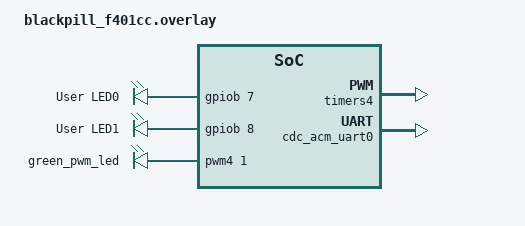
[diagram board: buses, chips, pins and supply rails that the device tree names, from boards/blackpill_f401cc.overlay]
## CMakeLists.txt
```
# SPDX-License-Identifier: Apache-2.0

cmake_minimum_required(VERSION 3.20.0)
find_package(Zephyr REQUIRED HINTS $ENV{ZEPHYR_BASE})
project(console)

FILE(GLOB app_sources src/*.c)
target_sources(app PRIVATE ${app_sources})
target_include_directories(app PRIVATE src)
```

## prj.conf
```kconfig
CONFIG_USB_DEVICE_STACK=y
CONFIG_USB_DEVICE_PRODUCT="Zephyr USB console sample"
CONFIG_USB_DEVICE_PID=0x0004
CONFIG_USB_DEVICE_INITIALIZE_AT_BOOT=n

CONFIG_SERIAL=y
CONFIG_CONSOLE=y
CONFIG_UART_CONSOLE=y
CONFIG_UART_LINE_CTRL=y

CONFIG_PWM=y
CONFIG_CONSOLE_SUBSYS=y
CONFIG_CONSOLE_GETLINE=y
CONFIG_HEAP_MEM_POOL_SIZE=256
CONFIG_EVENTS=y
```

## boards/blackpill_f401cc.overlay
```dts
/ {

	leds {
		compatible = "gpio-leds";
		led_B_7: led_b7 {
			gpios = <&gpiob 7 GPIO_ACTIVE_HIGH>;
			label = "User LED0";
		};
		led_B_8: led_b8 {
			gpios = <&gpiob 8 GPIO_ACTIVE_HIGH>;
			label = "User LED1";
		};
	};

	pwmleds: pwmleds {
		compatible = "pwm-leds";
		status = "okay";

		green_pwm_led: green_pwm_led {
			pwms = <&pwm4 1 PWM_NSEC(100000) PWM_POLARITY_NORMAL>;
		};
	};

    aliases {
        pwm-led2 = &green_pwm_led;
		led0 = &led_B_7;
		led1 = &led_B_8;
    };

};

&timers4 {
	status = "okay";
	/* if need period im MS
	st,prescaler = <10000>;
	*/
	pwm4: pwm {
		status = "okay";
		pinctrl-0 = <&tim4_ch1_pb6 &tim4_ch2_pb7>;
		pinctrl-names = "default";
	};
};

&pwm4 {
	status = "okay";
};

/ {
	chosen {
		zephyr,console = &cdc_acm_uart0;
	};
};

&zephyr_udc0 {
	cdc_acm_uart0: cdc_acm_uart0 {
		compatible = "zephyr,cdc-acm-uart";
	};
};
```

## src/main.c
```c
/*
 * Copyright (c) 2016 Intel Corporation.
 *
 * SPDX-License-Identifier: Apache-2.0
 */
#include <stdio.h>
#include <stdlib.h>
#include <string.h>

#include <zephyr/kernel.h>
#include <zephyr/sys/printk.h>
#include <zephyr/sys/__assert.h>
#include <zephyr/usb/usb_device.h>
#include <zephyr/usb/usbd.h>
#include <zephyr/console/console.h>
#include <zephyr/drivers/uart.h>
#include <zephyr/drivers/gpio.h>
#include <zephyr/device.h>
#include <zephyr/drivers/pwm.h>
#include <zephyr/sys/util.h>

#include "parser.h"


BUILD_ASSERT(DT_NODE_HAS_COMPAT(DT_CHOSEN(zephyr_console), zephyr_cdc_acm_uart),
	     "Console device is not ACM CDC UART device");


#define LED0_NODE DT_ALIAS(led0)

#define LED1_NODE DT_ALIAS(led1)


#if !DT_NODE_HAS_STATUS(LED0_NODE, okay)
#error "Unsupported board: led0 devicetree alias is not defined"
#endif

#if !DT_NODE_HAS_STATUS(LED1_NODE, okay)
#error "Unsupported board: led1 devicetree alias is not defined"
#endif

extern void blink_entry(void *, void *, void *);
extern void blink2_entry(void *, void *, void *);

#define DEFAULT_STACK_SIZE (500U)
#define DEFAULT_PRIORITY (5U)

#define TOTAL_TASKS (3U)

#define SLEEP_MSEC	(1U)

#define MIN_PERIOD (1U)
#define MAX_PERIOD (10000)

K_THREAD_STACK_DEFINE(task1_stack_area, DEFAULT_STACK_SIZE);
static struct k_thread task1_data;

K_THREAD_STACK_DEFINE(task2_stack_area, DEFAULT_STACK_SIZE);
static struct k_thread task2_data;

K_THREAD_STACK_DEFINE(task3_stack_area, DEFAULT_STACK_SIZE);
static struct k_thread task3_data;

K_FIFO_DEFINE(blink1_fifo);
K_FIFO_DEFINE(blink2_fifo);
K_FIFO_DEFINE(blink3_fifo);

K_SEM_DEFINE(blink_sem, 0, 1);

static const struct pwm_dt_spec pwm_led2 = PWM_DT_SPEC_GET(DT_ALIAS(pwm_led2));
static const struct gpio_dt_spec led0 = GPIO_DT_SPEC_GET_OR(LED0_NODE, gpios, {0});
static const struct gpio_dt_spec led1 = GPIO_DT_SPEC_GET_OR(LED1_NODE, gpios, {0});

typedef struct {
	uint32_t period;
	uint32_t brightness;
	bool enable;
} blink_data_t;

struct fifo_data_t {
	void *fifo_reserved; /* 1st word reserved for use by fifo */
	blink_data_t blink_data;
};

void task1_blink(const struct gpio_dt_spec * gpio, struct k_fifo * fifo, struct k_sem * pub, struct k_sem * sub)
{
	int ret;
	int led_state = 0;
	int led_mask = 0x01;
	size_t period = 500;
	bool enable = true;
	int64_t time_stamp;

	if (!device_is_ready(gpio->port)) {
		printk("Error: %s device is not ready\n", gpio->port->name);
		return;
	}

	ret = gpio_pin_configure_dt(gpio, GPIO_OUTPUT);
	if (ret != 0) {
		printk("Error %d: failed to configure pin %d \n",
			ret, gpio->pin);
		return;
	}

	time_stamp = k_uptime_get();
	while (1) {
		struct fifo_data_t * rx_data = k_fifo_get(fifo, K_MSEC(1));
		if (rx_data) {
			period = rx_data->blink_data.period;
			enable = rx_data->blink_data.enable;
			k_free(rx_data);
		}
		if (enable) {
			if (sub) {
				/* By the way, we can simply check the status of another GPIO */
				uint32_t sem = k_sem_count_get(sub);
				if ( sem == 0) {					
					led_mask = 0;
					gpio_pin_set(gpio->port, gpio->pin, 0);
				} else {
					led_mask = 0x01;
					gpio_pin_set(gpio->port, gpio->pin, led_state);
				}
			}
			if ((k_uptime_get() - time_stamp) >= period) {
				time_stamp = k_uptime_get();
				led_state ^= 1;
				gpio_pin_set(gpio->port, gpio->pin, led_state & led_mask);
				if (pub) {
					if (led_state == 0) {
						k_sem_give(pub);
					} else {
						k_sem_reset(pub);
					}
				}
			}
		}
	}
}


void pwm_blink(struct k_fifo * fifo)
{
	uint32_t pulse_width = 0;
	size_t period = 500;
	uint8_t dir = 1;
	uint32_t brightness = 50;
	int ret;
	bool enable = true;

	if (!pwm_is_ready_dt(&pwm_led2)) {
		printk("Error: PWM device %s is not ready\n",
		       pwm_led2.dev->name);
		return;
	}
	pwm_set_pulse_dt(&pwm_led2, pwm_led2.period);
	while (1) {
		struct fifo_data_t * rx_data = k_fifo_get(fifo, K_NO_WAIT);
		if (rx_data) {
			period = rx_data->blink_data.period;
			enable = rx_data->blink_data.enable;
			brightness = rx_data->blink_data.brightness;
			k_free(rx_data);
		}

		if (period == 0) {
			ret = pwm_set_pulse_dt(&pwm_led2, 0);
			if (ret) {
				printk("Error %d: failed to set pulse width %u\n", ret, pulse_width);
				return;
			}
		}
		else if (enable) {
			uint32_t max_period = pwm_led2.period * brightness / 100;
			uint32_t step = max_period / period;

			ret = pwm_set_pulse_dt(&pwm_led2, pulse_width);
			if (ret) {
				printk("Error %d: failed to set pulse width %u\n", ret, pulse_width);
				return;
			}

			if (dir) {
				pulse_width += step;
				if (pulse_width >= max_period) {
					pulse_width = max_period - step;
					dir = 0;
				}
			} else {
				if (pulse_width >= step) {
					pulse_width -= step;
				} else {
					pulse_width = step;
					dir = 1;
				}
			}
		}

		k_msleep(SLEEP_MSEC);
	}
}


void blink_entry(void * unused1, void * unused2, void * unused3)
{
	task1_blink(&led0, &blink1_fifo, &blink_sem, NULL);
}

void blink2_entry(void * unused1, void * unused2, void * unused3)
{
	task1_blink(&led1, &blink2_fifo, NULL, &blink_sem);
}

static void send_notification(const blink_data_t * data, struct k_fifo * fifo)
{
	struct fifo_data_t tx_data;
	memcpy(&tx_data.blink_data, data, sizeof(blink_data_t));

	size_t size = sizeof(struct fifo_data_t);
	char *mem_ptr = k_malloc(size);
	__ASSERT_NO_MSG(mem_ptr != 0);
	memcpy(mem_ptr, &tx_data, size);
	k_fifo_put(fifo, mem_ptr);
}

static void process_input(const char * input)
{
	static blink_data_t tasks_data[3] = {
		{.period = 500, .enable = true, .brightness = 100},
		{.period = 500, .enable = true, .brightness = 100},
		{.period = 500, .enable = true, .brightness = 50}
	};

	parser_data_t parse_results = ParseLine(input);
	uint32_t notify_mask = 0;

	switch(parse_results.cmd) {
		case CMD_TOGGLE_EXEC_ALL:
			if (0 == parse_results.args_count) {
				for(size_t i = 0; i < TOTAL_TASKS; i++) {
					tasks_data[i].enable = !tasks_data[i].enable;
					notify_mask |= 1 << i;
				}
			}
		break;
		case CMD_DELAY_ONE:
			if (2 == parse_results.args_count &&
				parse_results.arg1 <= TOTAL_TASKS &&
				parse_results.arg1 > 0) {
				size_t arg1 = parse_results.arg1 - 1;

				tasks_data[arg1].period = CLAMP(parse_results.arg2, MIN_PERIOD, MAX_PERIOD);
				notify_mask |= 1 << arg1;
			}
		break;
		case CMD_DELAY_ALL:
			if (1 == parse_results.args_count) {
				uint32_t period = CLAMP(parse_results.arg1, MIN_PERIOD, MAX_PERIOD);
				for (size_t i = 0; i < TOTAL_TASKS; i++) {
					tasks_data[i].period = period;
					notify_mask |= 1 << i;
				}
			}
		break;
		case CMD_TOGGLE_EXEC_ONE:
			if (1 == parse_results.args_count &&
				parse_results.arg1 <= TOTAL_TASKS && 
				parse_results.arg1 > 0) {
				size_t arg1 = parse_results.arg1 - 1;

				tasks_data[arg1].enable = !tasks_data[arg1].enable;
				notify_mask |= 1 << arg1;
			}
		break;
		case CMD_PWM:
			if (2 == parse_results.args_count &&
			    parse_results.arg1 <= 100 && 
				parse_results.arg1 >= 0) {
				tasks_data[2].brightness = parse_results.arg1;
				tasks_data[2].period = CLAMP(parse_results.arg2, MIN_PERIOD, MAX_PERIOD);
				notify_mask |= 1 << 2;
			}
		break;
		case CMD_UNSUPPORTED:
		/* FALLTHROUGH */
		default:

		break;
	};

	if (notify_mask & (1 << 0)) {
		send_notification(&tasks_data[0], &blink1_fifo);
	}
	if (notify_mask & (1 << 1)) {
		send_notification(&tasks_data[1], &blink2_fifo);
	}
	if (notify_mask & (1 << 2)) {
		send_notification(&tasks_data[2], &blink3_fifo);
	}
	/*using notify_mask as a flag if we have the wrong command*/
	if (0 == notify_mask)
	{
		printk("Unknown command\n");
	}
}

int main(void)
{
	const struct device *const dev = DEVICE_DT_GET(DT_CHOSEN(zephyr_console));	
	
	if (usb_enable(NULL)) {
		return 0;
	}

	uint32_t dtr = 0;
	/* Poll if the DTR flag was set */
	while (!dtr) {
		uart_line_ctrl_get(dev, UART_LINE_CTRL_DTR, &dtr);
		/* Give CPU resources to low priority threads. */
		k_sleep(K_MSEC(100));
	}


	k_tid_t tid1 = k_thread_create(&task1_data, task1_stack_area,
									K_THREAD_STACK_SIZEOF(task1_stack_area),
									blink_entry,
									NULL, NULL, NULL,
									DEFAULT_PRIORITY, 0, K_NO_WAIT);
	
	k_tid_t tid2 = k_thread_create(&task2_data, task2_stack_area,
									K_THREAD_STACK_SIZEOF(task2_stack_area),
									blink2_entry,
									NULL, NULL, NULL,
									DEFAULT_PRIORITY, 0, K_NO_WAIT);

	k_tid_t tid3 = k_thread_create(&task3_data, task3_stack_area,
									K_THREAD_STACK_SIZEOF(task2_stack_area),
									(k_thread_entry_t)pwm_blink,
									&blink3_fifo, NULL, NULL,
									DEFAULT_PRIORITY, 0, K_NO_WAIT);
	
	console_getline_init();

	while (1) {
		process_input(console_getline());
	}
	/* This code should not be executed. */
	k_thread_join(tid1, K_NO_WAIT);
	k_thread_join(tid2, K_NO_WAIT);
	k_thread_join(tid3, K_NO_WAIT);
}
```

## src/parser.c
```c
#include "parser.h"
#include <string.h>
#include <stdio.h>
#include <stdlib.h>

static const char * toggleAllStr= "toggleExecAll";
static const char * pwmStr = "pwm";
static const char * toggleExecStr = "toggleExec";
static const char * delayStr = "delay";
static const char * delayAllStr = "delayAll";

static const char * delimiter = ":";

const char * CommandToString(enum supported_command cmd)
{
    switch(cmd) {
        case CMD_DELAY_ONE:
            return "DELAY_ONE";
        case CMD_DELAY_ALL:
            return "DELAY_ALL";
        case CMD_UNSUPPORTED:
            return "UNSUPPORTED";
        case CMD_TOGGLE_EXEC_ALL:
            return "TOGGLE_EXEC_ALL";
        case CMD_TOGGLE_EXEC_ONE:
            return "TOGGLE_EXEC_ONE";
        case CMD_PWM:
            return "PWM";
    }
    return "Unknown";
}

parser_data_t ParseLine(const char * line)
{
    parser_data_t results = {.cmd = CMD_UNSUPPORTED, .args_count = 0};
    if (0 == strcmp(toggleAllStr, line)) {
        results.cmd = CMD_TOGGLE_EXEC_ALL;
    } else {
        size_t i = 0;
        char * token = strtok((char *)line, delimiter);
        while (token != NULL) {
            if (0 == i) {
                if (0 == strcmp(pwmStr, token)) {
                    results.cmd = CMD_PWM;
                } else if (0 == strcmp(toggleExecStr, token)) {
                    results.cmd = CMD_TOGGLE_EXEC_ONE;
                } else if (0 == strcmp(toggleAllStr, token)) {
                    results.cmd = CMD_TOGGLE_EXEC_ALL;
                } else if (0 == strcmp(delayAllStr, token)) {
                    results.cmd = CMD_DELAY_ALL;
                } else if (0 == strcmp(delayStr, token)) {
                    results.cmd = CMD_DELAY_ONE;
                }
            } else if (1 == i) {
                results.arg1 = atoi(token);
            } else if (2 == i) {
                results.arg2 = atoi(token);
            }
            results.args_count = i;
		    ++i;
		 	token = strtok(NULL, delimiter);
        }
    } 
    return results;
}
```

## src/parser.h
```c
#pragma once
#include <stdio.h>
#include <stddef.h>
#include <stdint.h>

enum supported_command
{
    CMD_DELAY_ALL = 0,
    CMD_DELAY_ONE,
    CMD_TOGGLE_EXEC_ALL,
    CMD_TOGGLE_EXEC_ONE,
    CMD_PWM,
    CMD_UNSUPPORTED
};

typedef struct 
{
    enum supported_command cmd;
    size_t args_count;
    uint32_t arg1;
    uint32_t arg2;
} parser_data_t;


parser_data_t ParseLine(const char * line);
/* used to debugging */
const char * CommandToString(enum supported_command cmd);
```
